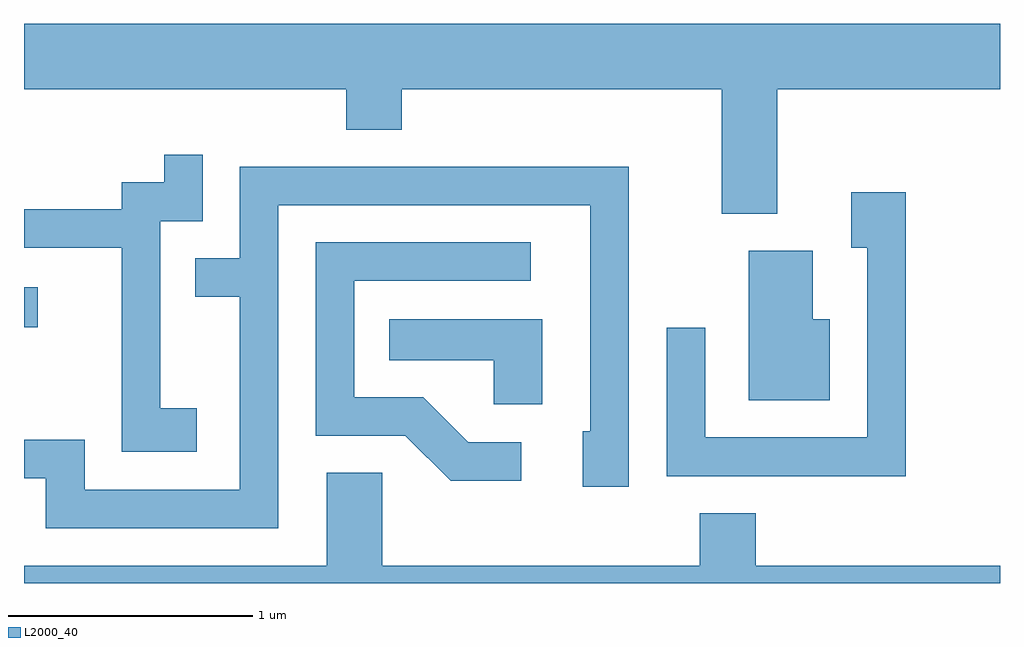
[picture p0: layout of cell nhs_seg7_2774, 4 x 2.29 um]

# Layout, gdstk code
import gdstk
lib = gdstk.Library(unit=1e-6, precision=1e-09)
def R(c, l, rs):  # rectangles x0, y0, x1, y1
    for r in rs: c.add(gdstk.rectangle(r[:2], r[2:], *l))
def P(c, l, *ps):  # polygons
    for p in ps: c.add(gdstk.Polygon(p, *l))
L2000_40 = (2000, 40)

nhs_seg7_2774 = lib.new_cell('nhs_seg7_2774')
R(nhs_seg7_2774, L2000_40, [(269.611,1753.301,269.668,1753.464)])
P(nhs_seg7_2774, L2000_40, [(272.699,1754.276),(273.611,1754.276),(273.611,1754.544),(269.611,1754.544),(269.611,1754.276),(270.931,1754.276),(270.931,1754.111),(271.159,1754.111),(271.159,1754.276),(272.471,1754.276),(272.471,1753.766),(272.699,1753.766)],
  [(270.319,1752.969),(270.169,1752.969),(270.169,1753.736),(270.344,1753.736),(270.344,1754.008),(270.186,1754.008),(270.186,1753.894),(270.011,1753.894),(270.011,1753.784),(269.611,1753.784),(269.611,1753.626),(270.011,1753.626),(270.011,1752.791),(270.319,1752.791)],
  [(270.654,1753.801),(271.931,1753.801),(271.931,1752.874),(271.901,1752.874),(271.901,1752.646),(272.089,1752.646),(272.089,1753.959),(270.496,1753.959),(270.496,1753.584),(270.313,1753.584),(270.313,1753.426),(270.496,1753.426),(270.496,1752.634),(269.859,1752.634),(269.859,1752.839),(269.611,1752.839),(269.611,1752.681),(269.701,1752.681),(269.701,1752.476),(270.654,1752.476)],
  [(273.224,1753.854),(273.001,1753.854),(273.001,1753.626),(273.066,1753.626),(273.066,1752.849),(272.404,1752.849),(272.404,1753.298),(272.246,1753.298),(272.246,1752.691),(273.224,1752.691)],
  [(271.648,1752.829),(271.432,1752.829),(271.247,1753.014),(270.964,1753.014),(270.964,1753.491),(271.688,1753.491),(271.688,1753.649),(270.806,1753.649),(270.806,1752.856),(271.174,1752.856),(271.359,1752.671),(271.648,1752.671)],
  [(272.914,1753.334),(272.844,1753.334),(272.844,1753.614),(272.581,1753.614),(272.581,1753.001),(272.914,1753.001)],
  [(271.734,1753.334),(271.108,1753.334),(271.108,1753.166),(271.536,1753.166),(271.536,1752.986),(271.734,1752.986)],
  [(273.611,1752.324),(272.609,1752.324),(272.609,1752.539),(272.381,1752.539),(272.381,1752.324),(271.079,1752.324),(271.079,1752.704),(270.851,1752.704),(270.851,1752.324),(269.611,1752.324),(269.611,1752.252),(273.611,1752.252)])

lib.write_gds('nhs_seg7_2774.gds')
